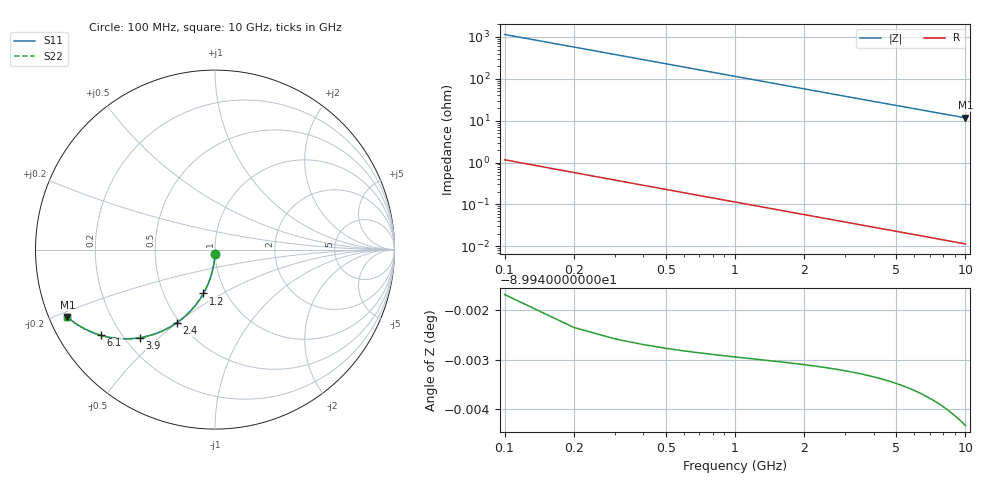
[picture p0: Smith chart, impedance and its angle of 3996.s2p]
# Hz S RI R 50.00
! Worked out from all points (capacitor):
!   100 points, 100 MHz to 10 GHz, reference 50 ohm
!   read as one part in shunt: C = 1.39 pF near 100 MHz
!   lowest |Z| = 11.7 ohm at 10 GHz (marker M1)
!   S11 on the Smith chart (normalised r, x): 100 MHz: 1.00, -0.04; 1.2 GHz: 0.79, -0.41; 2.4 GHz: 0.48, -0.50; 3.9 GHz: 0.26, -0.44; 6.1 GHz: 0.13, -0.33; 10 GHz: 0.05, -0.22
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1e8  -0.000488 -0.0218  0.9995 -0.0219  0.9995 -0.0219  -0.000488 -0.0218
2e8  -0.00194 -0.0435  0.998 -0.0437  0.998 -0.0437  -0.00194 -0.0435
3e8  -0.00432 -0.065  0.9957 -0.0653  0.9957 -0.0653  -0.00432 -0.065
4e8  -0.00764 -0.0864  0.9923 -0.0868  0.9923 -0.0868  -0.00764 -0.0864
5e8  -0.0119 -0.1076  0.9881 -0.1081  0.9881 -0.1081  -0.0119 -0.1076
6e8  -0.017 -0.1284  0.983 -0.129  0.983 -0.129  -0.017 -0.1284
7e8  -0.0229 -0.1489  0.9771 -0.1496  0.9771 -0.1496  -0.0229 -0.1489
9e8  -0.0373 -0.1885  0.9627 -0.1894  0.9627 -0.1894  -0.0373 -0.1885
1.2e9  -0.0643 -0.2442  0.9357 -0.2454  0.9357 -0.2454  -0.0643 -0.2442
1.5e9  -0.0968 -0.2944  0.9032 -0.2959  0.9032 -0.2959  -0.0968 -0.2944
1.8e9  -0.1335 -0.3387  0.8665 -0.3405  0.8665 -0.3405  -0.1335 -0.3387
2.1e9  -0.1731 -0.3768  0.8269 -0.3789  0.8269 -0.3789  -0.1731 -0.3768
2.4e9  -0.2145 -0.4088  0.7855 -0.4112  0.7855 -0.4112  -0.2145 -0.4088
2.9e9  -0.2846 -0.4493  0.7154 -0.4522  0.7154 -0.4522  -0.2846 -0.4493
3.4e9  -0.353 -0.4757  0.647 -0.4791  0.647 -0.4791  -0.353 -0.4757
3.9e9  -0.4174 -0.4907  0.5826 -0.4946  0.5826 -0.4946  -0.4174 -0.4907
5.1e9  -0.5496 -0.4944  0.4504 -0.4996  0.4504 -0.4996  -0.5496 -0.4944
6.1e9  -0.6351 -0.4778  0.3649 -0.484  0.3649 -0.484  -0.6351 -0.4778
6.7e9  -0.677 -0.4637  0.3229 -0.4706  0.3229 -0.4706  -0.677 -0.4637
7.5e9  -0.7239 -0.4427  0.276 -0.4504  0.276 -0.4504  -0.7239 -0.4427
8.4e9  -0.7665 -0.4181  0.2334 -0.4269  0.2334 -0.4269  -0.7665 -0.4181
1e10  -0.8228 -0.3761  0.1771 -0.3865  0.1771 -0.3865  -0.8228 -0.3761
